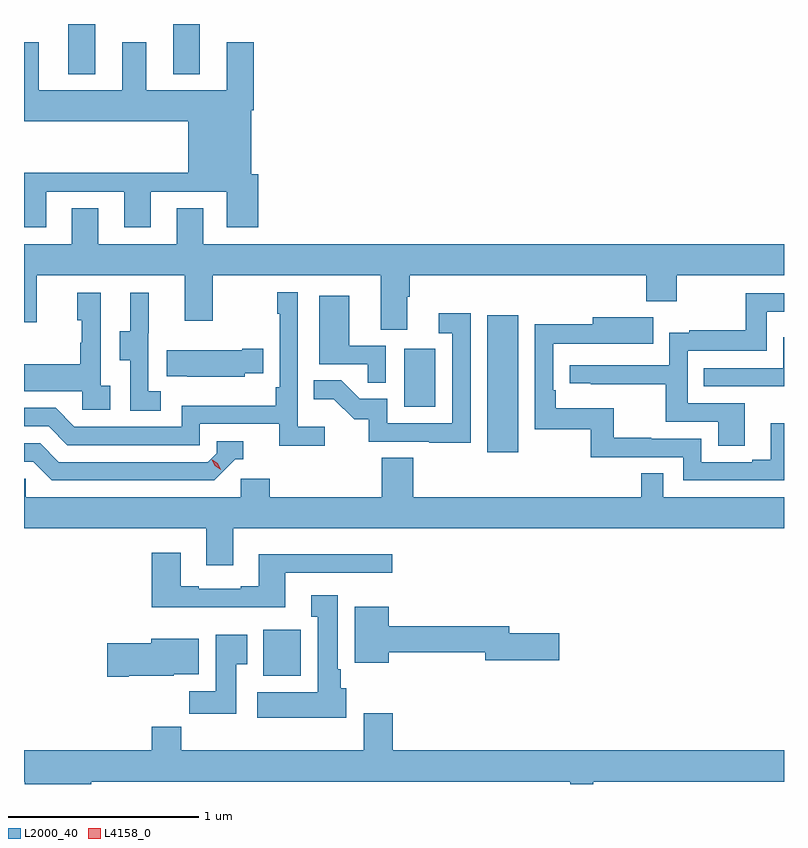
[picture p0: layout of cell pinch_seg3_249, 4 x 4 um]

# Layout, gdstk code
import gdstk
lib = gdstk.Library(unit=1e-6, precision=1e-09)
def R(c, l, rs):  # rectangles x0, y0, x1, y1
    for r in rs: c.add(gdstk.rectangle(r[:2], r[2:], *l))
def P(c, l, *ps):  # polygons
    for p in ps: c.add(gdstk.Polygon(p, *l))
L2000_40 = (2000, 40)
L4158_0 = (4158, 0)

pinch_seg3_249 = lib.new_cell('pinch_seg3_249')
R(pinch_seg3_249, L2000_40, [(940.511,726.782,940.708,727.024), (941.69,727.956,941.851,728.677), (941.252,728.196,941.416,728.503), (939.485,729.947,939.625,730.211), (940.037,729.947,940.177,730.211)])
P(pinch_seg3_249, L2000_40, [(939.367,729.327),(939.779,729.327),(939.779,729.141),(939.919,729.141),(939.919,729.327),(940.319,729.327),(940.319,729.141),(940.484,729.141),(940.484,729.42),(940.447,729.42),(940.447,729.758),(940.46,729.758),(940.46,730.114),(940.319,730.114),(940.319,729.862),(939.895,729.862),(939.895,730.114),(939.767,730.114),(939.767,729.862),(939.328,729.862),(939.328,730.114),(939.251,730.114),(939.251,729.698),(940.115,729.698),(940.115,729.428),(939.251,729.428),(939.251,729.141),(939.367,729.141)],
  [(941.269,728.776),(941.282,728.776),(941.282,728.888),(942.527,728.888),(942.527,728.753),(942.687,728.753),(942.687,728.888),(943.251,728.888),(943.251,729.052),(940.195,729.052),(940.195,729.242),(940.055,729.242),(940.055,729.052),(939.643,729.052),(939.643,729.242),(939.503,729.242),(939.503,729.052),(939.251,729.052),(939.251,728.64),(939.317,728.64),(939.317,728.888),(940.097,728.888),(940.097,728.649),(940.245,728.649),(940.245,728.888),(941.129,728.888),(941.129,728.602),(941.269,728.602)],
  [(940.834,728.092),(940.692,728.092),(940.692,728.8),(940.584,728.8),(940.584,728.687),(940.596,728.687),(940.596,728.299),(940.576,728.299),(940.576,728.203),(940.08,728.203),(940.08,728.091),(939.516,728.091),(939.417,728.19),(939.251,728.19),(939.251,728.094),(939.38,728.094),(939.479,727.995),(940.176,727.995),(940.176,728.106),(940.595,728.106),(940.595,727.99),(940.834,727.99)],
  [(939.97,728.279),(939.906,728.279),(939.906,728.583),(939.908,728.583),(939.908,728.797),(939.809,728.797),(939.809,728.595),(939.755,728.595),(939.755,728.44),(939.81,728.44),(939.81,728.176),(939.97,728.176)],
  [(939.706,728.306),(939.654,728.306),(939.654,728.797),(939.53,728.797),(939.53,728.652),(939.556,728.652),(939.556,728.534),(939.546,728.534),(939.546,728.419),(939.251,728.419),(939.251,728.279),(939.558,728.279),(939.558,728.181),(939.706,728.181)],
  [(943.045,728.214),(942.744,728.214),(942.744,728.49),(943.161,728.49),(943.161,728.696),(943.251,728.696),(943.251,728.793),(943.05,728.793),(943.05,728.599),(942.751,728.599),(942.751,728.587),(942.648,728.587),(942.648,728.415),(942.123,728.415),(942.123,728.319),(942.235,728.319),(942.235,728.314),(942.628,728.314),(942.628,728.118),(942.905,728.118),(942.905,727.99),(943.045,727.99)],
  [(941.154,728.517),(940.963,728.517),(940.963,728.782),(940.805,728.782),(940.805,728.421),(941.059,728.421),(941.059,728.323),(941.154,728.323)],
  [(941.601,728.689),(941.433,728.689),(941.433,728.583),(941.505,728.583),(941.505,728.109),(941.163,728.109),(941.163,728.238),(941.019,728.238),(940.921,728.336),(940.777,728.336),(940.777,728.237),(940.881,728.237),(940.988,728.13),(941.065,728.13),(941.065,728.013),(941.383,728.013),(941.383,728.008),(941.601,728.008)],
  [(943.251,728.111),(943.181,728.111),(943.181,727.918),(943.085,727.918),(943.085,727.905),(942.816,727.905),(942.816,728.028),(942.551,728.028),(942.551,728.033),(942.355,728.033),(942.355,728.188),(942.05,728.188),(942.05,728.284),(942.036,728.284),(942.036,728.529),(942.349,728.529),(942.349,728.528),(942.563,728.528),(942.563,728.668),(942.245,728.668),(942.245,728.63),(941.94,728.63),(941.94,728.079),(942.234,728.079),(942.234,727.932),(942.72,727.932),(942.72,727.809),(943.251,727.809)],
  [(943.251,728.563),(943.248,728.563),(943.248,728.4),(942.829,728.4),(942.829,728.304),(943.251,728.304)],
  [(940.413,728.372),(940.511,728.372),(940.511,728.502),(940.4,728.502),(940.4,728.494),(940.003,728.494),(940.003,728.357),(940.111,728.357),(940.111,728.354),(940.413,728.354)],
  [(940.362,727.92),(940.405,727.92),(940.405,728.016),(940.266,728.016),(940.266,727.953),(940.218,727.905),(939.435,727.905),(939.336,728.004),(939.251,728.004),(939.251,727.908),(939.299,727.908),(939.398,727.809),(940.251,727.809)],
  [(940.351,727.556),(943.251,727.556),(943.251,727.72),(942.615,727.72),(942.615,727.847),(942.499,727.847),(942.499,727.72),(941.3,727.72),(941.3,727.928),(941.135,727.928),(941.135,727.72),(940.544,727.72),(940.544,727.818),(940.392,727.818),(940.392,727.72),(939.261,727.72),(939.261,727.818),(939.251,727.818),(939.251,727.556),(940.211,727.556),(940.211,727.362),(940.351,727.362)],
  [(940.627,727.323),(941.188,727.323),(941.188,727.42),(940.487,727.42),(940.487,727.252),(940.391,727.252),(940.391,727.239),(940.171,727.239),(940.171,727.252),(940.075,727.252),(940.075,727.429),(939.923,727.429),(939.923,727.142),(940.627,727.142)],
  [(940.948,726.714),(940.918,726.714),(940.918,726.814),(940.903,726.814),(940.903,727.204),(940.763,727.204),(940.763,727.091),(940.796,727.091),(940.796,726.694),(940.479,726.694),(940.479,726.56),(940.948,726.56)],
  [(941.17,726.904),(941.678,726.904),(941.678,726.862),(942.067,726.862),(942.067,727.004),(941.806,727.004),(941.806,727.04),(941.17,727.04),(941.17,727.144),(940.991,727.144),(940.991,726.848),(941.17,726.848)],
  [(940.369,726.841),(940.426,726.841),(940.426,726.997),(940.259,726.997),(940.259,726.7),(940.12,726.7),(940.12,726.582),(940.369,726.582)],
  [(939.802,726.782),(940.038,726.782),(940.038,726.788),(940.171,726.788),(940.171,726.976),(939.92,726.976),(939.92,726.953),(939.69,726.953),(939.69,726.775),(939.802,726.775)],
  [(939.604,726.224),(942.125,726.224),(942.125,726.211),(942.247,726.211),(942.247,726.224),(943.251,726.224),(943.251,726.388),(941.192,726.388),(941.192,726.583),(941.039,726.583),(941.039,726.388),(940.079,726.388),(940.079,726.512),(939.923,726.512),(939.923,726.388),(939.251,726.388),(939.251,726.224),(939.254,726.224),(939.254,726.211),(939.604,726.211)])
P(pinch_seg3_249, L4158_0, [(940.287,727.865),(940.256,727.885),(940.24,727.917),(940.24,727.917),(940.241,727.917),(940.271,727.898),(940.287,727.865),(940.287,727.865)])

lib.write_gds('pinch_seg3_249.gds')
